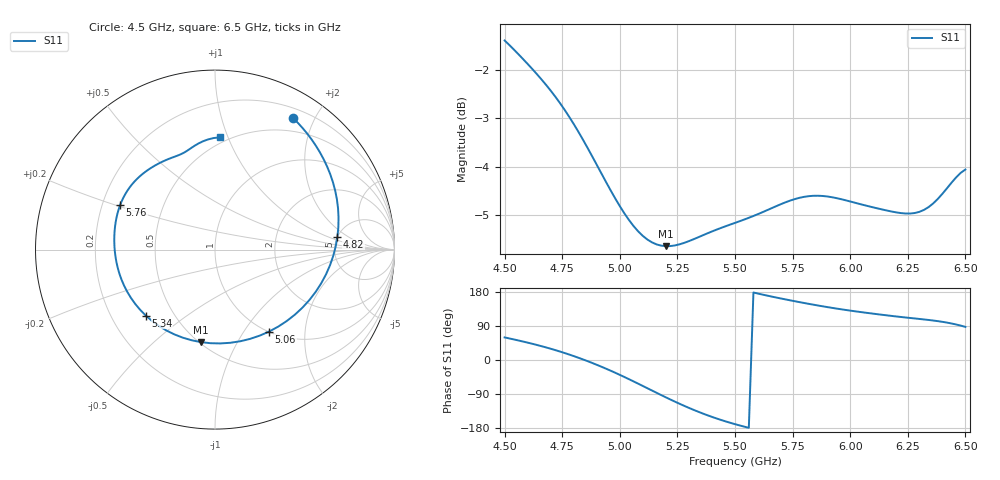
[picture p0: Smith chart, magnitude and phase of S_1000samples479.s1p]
! TOUCHSTONE file generated by CST MICROWAVE STUDIO
! Date and time: Fri Oct 28 07:27:00 2022
! Project name: L.cst
! Parameters = {Di=1.27; Epsilon_r=1.56; InnerDiameter=1.27; Length=2; Lf=10; Lg=60; OuterConductorThickness=0.2921; OuterDiameter=3.6; Wf=3; Wp=41.2; de=1.5; df=6.8; g=0.8; gx=3.61174; gy=0.804257; h=2.34; hf=1.524; px=13.0078; py=10.7703; w=9.7; wx=9.39604; wy=9.96609}
! Header version: 2018
! Port assignment regex: !\s*Touchstone port\s*([0-9]+)\s*=\s*(CST MWS port|CST DS port)\s*([0-9]+|Zmin|Zmax)\s*\(\"(.*)\"\)(\s*mode\s*([0-9]+))?.*
! Touchstone port assignment:
! Touchstone port 1 = CST MWS port 1 ("")
# GHz S DB R 50
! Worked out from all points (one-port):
!   101 points, 4.5 GHz to 6.5 GHz, reference 50 ohm
!   lowest |S11| = -5.7 dB at 5.2 GHz (marker M1), VSWR 3.18, Z = 25.5 - j36.1 ohm
!   |S11| at or under -10 dB: nowhere
!   S11 on the Smith chart (normalised r, x): 4.5 GHz: 0.31, +1.70; 4.82 GHz: 4.98, +1.36; 5.06 GHz: 1.01, -1.31; 5.34 GHz: 0.35, -0.36; 5.76 GHz: 0.27, +0.21; 6.5 GHz: 0.46, +0.94
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4.5  -1.38 59.6
4.58  -1.77 48.7
4.64  -2.08 39.7
4.7  -2.42 29.7
4.76  -2.82 18.5
4.82  -3.28 6.0
4.86  -3.61 -3.0
4.9  -3.96 -12.6
4.94  -4.32 -22.9
5  -4.82 -39.2
5.06  -5.24 -56.6
5.1  -5.44 -68.6
5.14  -5.58 -80.6
5.2  -5.66 -98.6
5.26  -5.62 -115.7
5.34  -5.47 -136.4
5.38  -5.39 -145.7
5.42  -5.31 -154.3
5.5  -5.17 -169.3
5.62  -4.95 172.5
5.76  -4.68 155.0
5.88  -4.61 141.7
6  -4.73 130.4
6.12  -4.87 120.7
6.26  -4.98 110.9
6.4  -4.57 100.7
6.46  -4.22 93.7
6.5  -4.06 87.4
